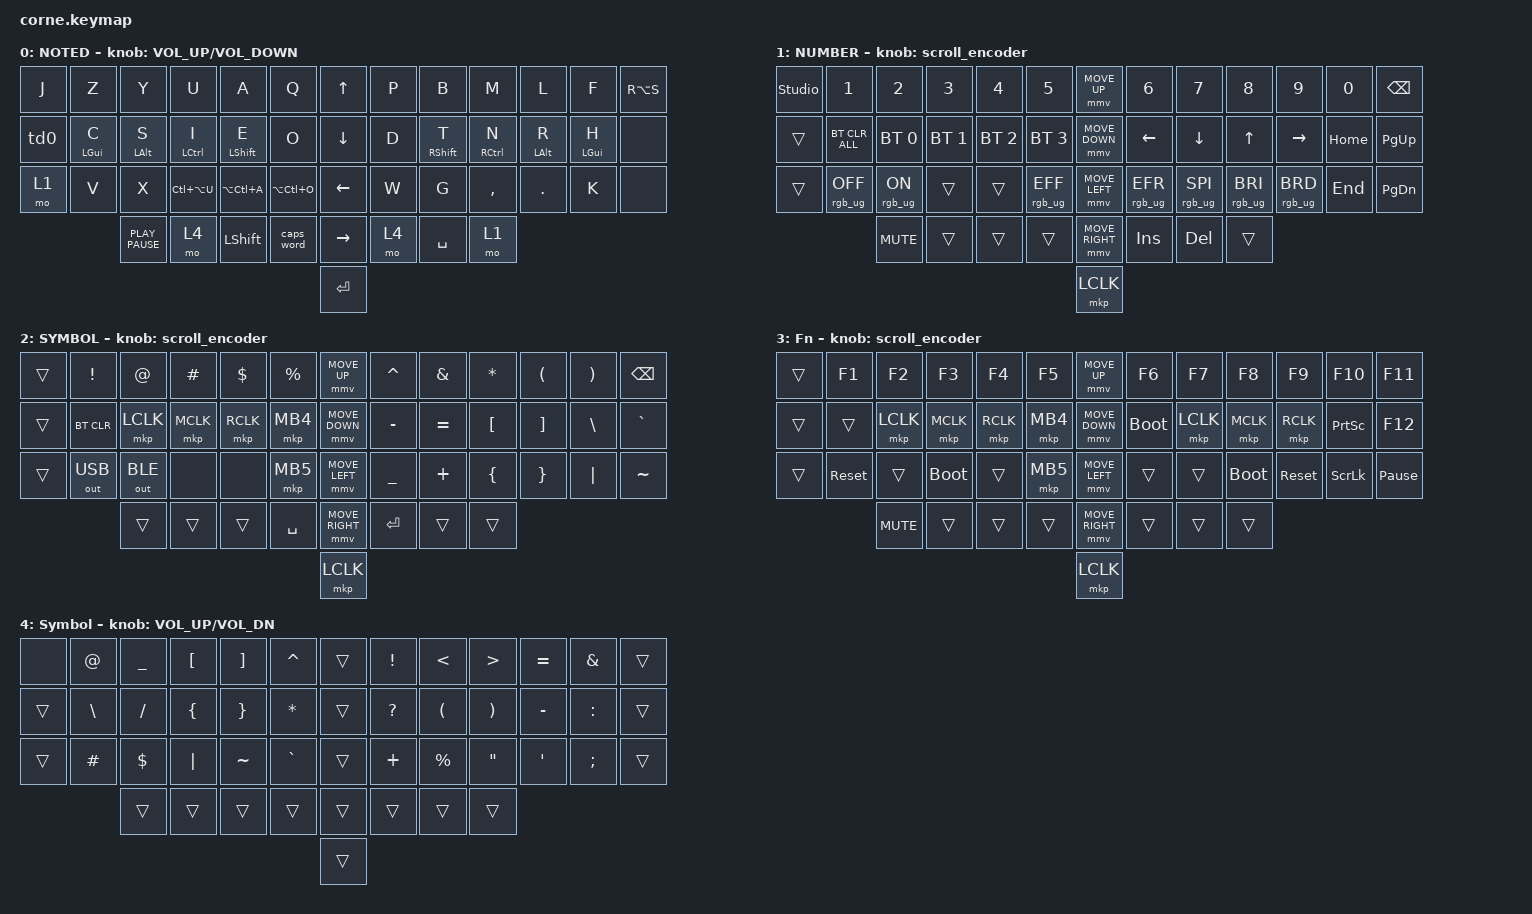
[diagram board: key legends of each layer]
#include <behaviors/mouse_keys.dtsi>
#include <dt-bindings/zmk/mouse.h>
#include <behaviors.dtsi>
#include <dt-bindings/zmk/bt.h>
#include <dt-bindings/zmk/keys.h>
#include <dt-bindings/zmk/outputs.h>
#include <dt-bindings/zmk/pointing.h>
#include <dt-bindings/zmk/pointing.h>
#include <dt-bindings/zmk/pointing.h>
#include <dt-bindings/zmk/rgb.h>

#define ZMK_MOUSE_DEFAULT_MOVE_VAL 1200  // 600
#define ZMK_MOUSE_DEFAULT_SCRL_VAL 20    // 10
#define U_MS_U &mmv MOVE_UP
#define U_MS_D &mmv MOVE_DOWN
#define U_MS_L &mmv MOVE_LEFT
#define U_MS_R &mmv MOVE_RIGHT

/ {
    behaviors {
        td0: td0 {
            compatible = "zmk,behavior-tap-dance";
            label = "TD0";
            #binding-cells = <0>;
            bindings = <&kp LEFT_SHIFT>, <&kp CAPS>;
        };

        hml: hml {
            compatible = "zmk,behavior-hold-tap";
            label = "HML";
            bindings = <&kp>, <&kp>;

            #binding-cells = <2>;
            flavor = "balanced";
            tapping-term-ms = <280>;
            quick-tap-ms = <175>;
            require-prior-idle-ms = <150>;
            hold-trigger-on-release;
            hold-trigger-key-positions = <40 41 42 44 45 46 7 8 9 10 11 12 20 21 22 23 24 25 33 34 35 36 37 38 45 46>;
        };

        hmr: hmr {
            compatible = "zmk,behavior-hold-tap";
            label = "HMR";
            bindings = <&kp>, <&kp>;

            #binding-cells = <2>;
            flavor = "balanced";
            tapping-term-ms = <280>;
            quick-tap-ms = <175>;
            require-prior-idle-ms = <150>;
            hold-trigger-on-release;
            hold-trigger-key-positions = <0 1 2 3 4 5 13 14 15 16 17 18 26 27 28 29 30 31 40 40 41 42 44 45 46>;
        };

        mmv {
            acceleration-exponent = <1>;      // 1
            time-to-max-speed-ms = <900>;    // 40
            delay-ms = <0>;                   // 0
        };

        msc {
            acceleration-exponent = <1>;      // 0
            time-to-max-speed-ms = <400>;      // 500
            delay-ms = <0>;                   // 10
        };
    };

    rgb_encoder: rgb_encoder {
        compatible = "zmk,behavior-sensor-rotate";
        label = "RGB_ENCODER";
        #sensor-binding-cells = <0>;
        bindings = <&rgb_ug RGB_BRI>, <&rgb_ug RGB_BRD>;
    };

    scroll_encoder: scroll_encoder {
        compatible = "zmk,behavior-sensor-rotate";
        #sensor-binding-cells = <0>;
        bindings = <&msc SCRL_DOWN>, <&msc SCRL_UP>;

        tap-ms = <30>;
    };

    combos {
        compatible = "zmk,combos";

        Enter {
            bindings = <&kp ENTER>;
            key-positions = <34 35>;
        };

        Backspace {
            bindings = <&kp BACKSPACE>;
            key-positions = <8 9>;
        };

        Escape {
            bindings = <&kp ESCAPE>;
            key-positions = <2 3>;
        };

        Tab {
            bindings = <&kp TAB>;
            key-positions = <3 4>;
        };

        Delete {
            bindings = <&kp DELETE>;
            key-positions = <9 10>;
        };
    };

    keymap {
        compatible = "zmk,keymap";

        Noted {
            display-name = "NOTED";

            // --------------------------------------------------------------------------------
            // |  TAB |  Q  |  W  |  E  |  R  |  T  |                ↑    |  Y  |  U   |  I  |  O  |  P  | BKSP |      &kp UP_ARROW 
            // | SHIFT |  A  |  S  |  D  |  F  |  G  |               ↓    |  H  |  J   |  K  |  L  |  ;  |  '   | 
            // | CTRL |  Z  |  X  |  C  |  V  |  B  |                ←    |  N  |  M   |  ,  |  .  |  /  | ESC  |
            //                    | GUI | LWR | SPC |                →    | ENT | RSE  | ALT |
            //                                                      enter

            bindings = <
&kp J  &kp Z            &kp Y             &kp U                &kp A              &kp Q            &kp UP_ARROW     &kp P  &kp B               &kp M                 &kp L            &kp F            &kp RA(S)
&td0   &hml LEFT_GUI C  &hml LEFT_ALT S   &hml LEFT_CONTROL I  &hml LEFT_SHIFT E  &kp O            &kp DOWN_ARROW   &kp D  &hmr RIGHT_SHIFT T  &hmr RIGHT_CONTROL N  &hmr LEFT_ALT R  &hmr LEFT_GUI H  &none
&mo 1  &kp V            &kp X             &kp LC(LA(U))        &kp LA(LC(A))      &kp LA(LC(O))    &kp LEFT_ARROW   &kp W  &kp G               &kp COMMA             &kp DOT          &kp K            &none
                        &kp K_PLAY_PAUSE  &mo 4                &kp LEFT_SHIFT     &caps_word       &kp RIGHT_ARROW  &mo 4  &kp SPACE           &mo 1
                                                                                                   &kp ENTER
            >;

            label = "QWERTY";
            sensor-bindings = <&inc_dec_kp C_VOLUME_UP C_VOLUME_DOWN>;
        };

        lower_layer {
            display-name = "NUMBER";

            // -----------------------------------------------------------------------------------------
            // |  TAB |  1  |  2  |  3  |  4  |  5  |   |  6  |  7  |  8  |  9  |  0  | BKSP |
            // | BTCLR| BT1 | BT2 | BT3 | BT4 | BT5 |   | LFT | DWN |  UP | RGT |     |      |
            // | SHFT |     |     |     |     |     |   |     |     |     |     |     |      |
            //                    | GUI |     | SPC |   | ENT |     | ALT |

            bindings = <
&studio_unlock  &kp N1           &kp N2          &kp N3        &kp N4        &kp N5             &mmv MOVE_UP     &kp N6           &kp N7           &kp N8           &kp N9           &kp N0    &kp BSPC
&trans          &bt BT_CLR_ALL   &bt BT_SEL 0    &bt BT_SEL 1  &bt BT_SEL 2  &bt BT_SEL 3       &mmv MOVE_DOWN   &kp LEFT         &kp DOWN         &kp UP           &kp RIGHT        &kp HOME  &kp PG_UP
&trans          &rgb_ug RGB_OFF  &rgb_ug RGB_ON  &trans        &trans        &rgb_ug RGB_EFF    &mmv MOVE_LEFT   &rgb_ug RGB_EFR  &rgb_ug RGB_SPI  &rgb_ug RGB_BRI  &rgb_ug RGB_BRD  &kp END   &kp PG_DN
                                 &kp C_MUTE      &trans        &trans        &trans             &mmv MOVE_RIGHT  &kp INS          &kp DEL          &trans
                                                                                                &mkp LCLK
            >;

            label = "NUMBER";
            sensor-bindings = <&scroll_encoder>;
        };

        SymbolOld {
            display-name = "SYMBOL";

            // -----------------------------------------------------------------------------------------
            // |  TAB |  !  |  @  |  #  |  $  |  %  |   |  ^  |  &  |  *  |  (  |  )  | BKSP |
            // | CTRL |     |     |     |     |     |   |  -  |  =  |  [  |  ]  |  \  |  `   |
            // | SHFT |     |     |     |     |     |   |  _  |  +  |  {  |  }  | "|" |  ~   |
            //                    | GUI |     | SPC |   | ENT |     | ALT |

            bindings = <
&trans  &kp EXCL      &kp AT        &kp HASH   &kp DLLR   &kp PRCNT    &mmv MOVE_UP     &kp CARET  &kp AMPS   &kp ASTRK  &kp LPAR  &kp RPAR  &kp BSPC
&trans  &bt BT_CLR    &mkp LCLK     &mkp MCLK  &mkp RCLK  &mkp MB4     &mmv MOVE_DOWN   &kp MINUS  &kp EQUAL  &kp LBKT   &kp RBKT  &kp BSLH  &kp GRAVE
&trans  &out OUT_USB  &out OUT_BLE  &none      &none      &mkp MB5     &mmv MOVE_LEFT   &kp UNDER  &kp PLUS   &kp LBRC   &kp RBRC  &kp PIPE  &kp TILDE
                      &trans        &trans     &trans     &kp SPACE    &mmv MOVE_RIGHT  &kp RET    &trans     &trans
                                                                       &mkp LCLK
            >;

            label = "SYMBOL";
            sensor-bindings = <&scroll_encoder>;
        };

        layer_3 {
            display-name = "Fn";
            bindings = <
&trans  &kp F1      &kp F2      &kp F3       &kp F4     &kp F5      &mmv MOVE_UP     &kp F6       &kp F7     &kp F8       &kp F9      &kp F10          &kp F11
&trans  &trans      &mkp LCLK   &mkp MCLK    &mkp RCLK  &mkp MB4    &mmv MOVE_DOWN   &bootloader  &mkp LCLK  &mkp MCLK    &mkp RCLK   &kp PRINTSCREEN  &kp F12
&trans  &sys_reset  &trans      &bootloader  &trans     &mkp MB5    &mmv MOVE_LEFT   &trans       &trans     &bootloader  &sys_reset  &kp SCROLLLOCK   &kp PAUSE_BREAK
                    &kp C_MUTE  &trans       &trans     &trans      &mmv MOVE_RIGHT  &trans       &trans     &trans
                                                                    &mkp LCLK
            >;

            label = "FN";
            sensor-bindings = <&scroll_encoder>;
        };

        Symbol {
            bindings = <
&none   &kp AT     &kp UNDER   &kp LEFT_BRACKET  &kp RIGHT_BRACKET  &kp CARET    &trans  &kp EXCL      &kp LESS_THAN         &kp GREATER_THAN       &kp EQUAL  &kp AMPERSAND  &trans
&trans  &kp BSLH   &kp FSLH    &kp LEFT_BRACE    &kp RIGHT_BRACE    &kp STAR     &trans  &kp QUESTION  &kp LEFT_PARENTHESIS  &kp RIGHT_PARENTHESIS  &kp MINUS  &kp COLON      &trans
&trans  &kp POUND  &kp DOLLAR  &kp PIPE          &kp TILDE          &kp GRAVE    &trans  &kp PLUS      &kp PERCENT           &kp DOUBLE_QUOTES      &kp APOS   &kp SEMI       &trans
                   &trans      &trans            &trans             &trans       &trans  &trans        &trans                &trans
                                                                                 &trans
            >;

            sensor-bindings = <&inc_dec_kp C_VOLUME_UP C_VOL_DN>;
        };
    };
};
